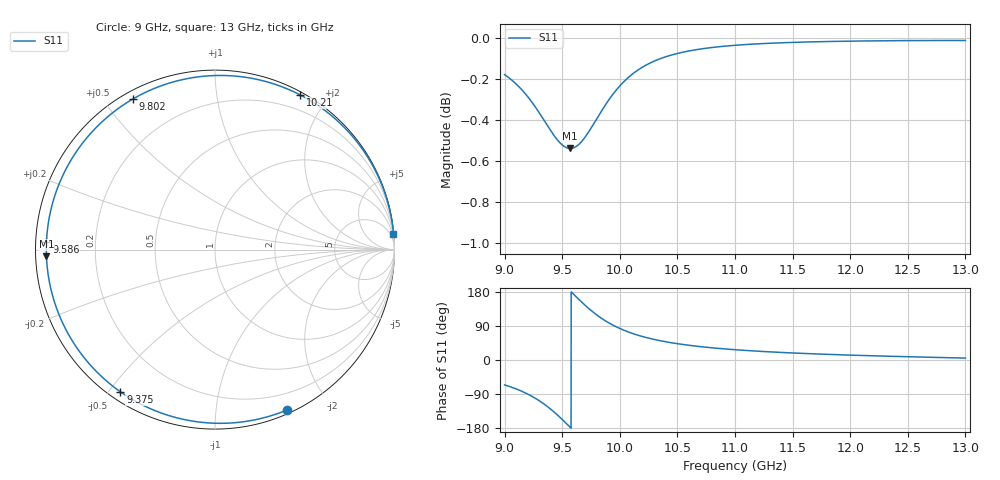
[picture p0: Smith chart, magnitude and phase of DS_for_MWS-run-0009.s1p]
! TOUCHSTONE file generated by CST DESIGN STUDIO
! Date and time: Tue Feb  4 16:40:02 2025
! Project name: C:\Work\MatlabApps\UnitCellOptimizationMatlab\CST\unitcell.cst
! Tree item: Tasks\Sweep1\SPara1\S-Parameters
! Header version: 2024
! Port assignment regex: !\s*Touchstone port\s*([0-9]+)\s*=\s*(CST MWS port|CST DES external port|CST DES block port)\s*(.+)\s* \(\"(.*)\"\)(\s*mode\s*([0-9]+))?.*
! Touchstone port assignment:
! Touchstone port 1 = CST DES external port 1 ("")
# GHz S MA R 50
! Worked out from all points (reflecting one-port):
!   4001 points, 9 GHz to 13 GHz, reference 50 ohm
!   lowest |S11| = -0.5 dB at 9.57 GHz (marker M1), VSWR 32.24, Z = 1.55 - j0.98 ohm
!   phase of S11 starts at -66 deg and turns -289 deg over the sweep
!   S11 on the Smith chart (normalised r, x): 9 GHz: 0.04, -1.55; 9.375 GHz: 0.03, -0.54; 9.586 GHz: 0.03, +0.02; 9.802 GHz: 0.03, +0.59; 10.21 GHz: 0.03, +1.69; 13 GHz: 0, +23
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9  0.9795 -65.8
9.044  0.9774 -70.1
9.111  0.9737 -77.6
9.226  0.9654 -94.0
9.305  0.9584 -108.3
9.375  0.9516 -123.6
9.436  0.9461 -139.0
9.5  0.9417 -156.9
9.536  0.9403 -167.5
9.57  0.9398 -177.8
9.586  0.9399 177.4
9.641  0.9418 160.9
9.702  0.9461 143.5
9.752  0.9508 130.4
9.802  0.9558 118.5
9.845  0.9601 109.3
9.891  0.9645 100.4
10  0.9733 83.2
10.099  0.9792 71.2
10.207  0.984 61.1
10.342  0.988 51.4
10.5  0.9911 43.0
10.721  0.9938 34.6
11  0.9957 27.1
11.5  0.9973 18.5
12  0.998 12.9
12.5  0.9983 8.6
13  0.9984 5.1
